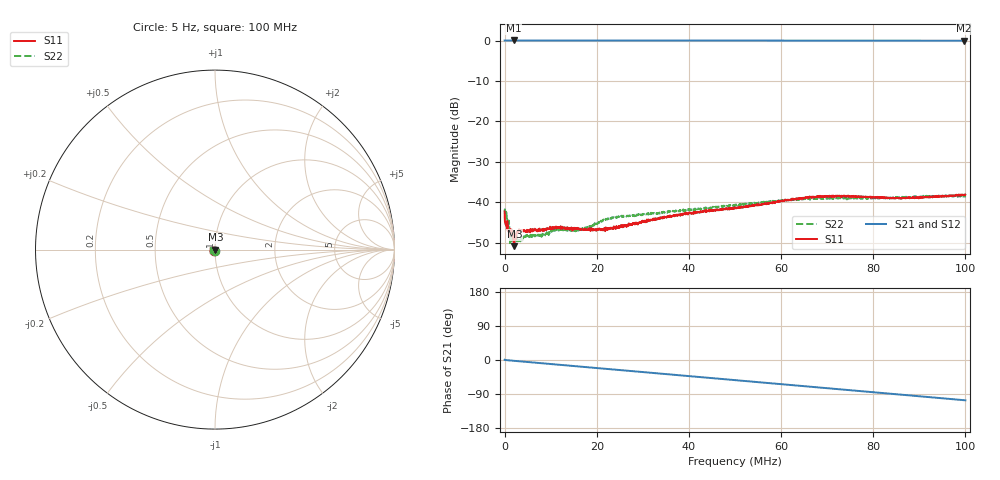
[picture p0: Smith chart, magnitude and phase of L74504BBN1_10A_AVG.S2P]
!Agilent Technologies,E5061B,MY49102235,A.02.00
!Date: Tue Jul 11 15:03:55 2023
!Data & Calibration Information:
!Freq	S11:SOLT2(ON)	S21:SOLT2(ON)	S12:SOLT2(ON)	S22:SOLT2(ON)
# Hz S RI R 50
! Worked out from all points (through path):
!   1600 points, 5 Hz to 100 MHz, reference 50 ohm
!   highest |S21| = 0.02 dB at 1.939 MHz (marker M1); lowest = 0.0 dB at 99.75 MHz (marker M2)
!   group delay of S21, straight-line fit = 2.95 ns
!   lowest |S11| = -50.8 dB at 2.126 MHz (marker M3), VSWR 1.01, Z = 50.3 - j0.0824 ohm
!   |S11| at or under -10 dB: start of sweep to end of sweep
!   |S22| runs from -50.5 to -38.2 dB; largest |S21 - S12| = 0.0026
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5  -0.00522 -0.00565  1.001 0.00801  1 0.0102  -0.00147 -0.00753
625395.8  0.00508 -1.53e-05  1.002 -0.011  1.002 -0.0106  0.0061 -0.000413
1000630  0.00381 0.000239  1.001 -0.0173  1.001 -0.017  0.00518 -0.000682
1500943  0.00441 -0.001  1.001 -0.0264  1.002 -0.0263  0.00306 -0.00215
1688560  0.00392 -0.001  1 -0.0309  1.001 -0.0311  0.00365 -0.00186
1938717  0.0032 -0.000372  1.002 -0.0355  1.001 -0.035  0.00349 -0.000102
2126334  0.00275 -0.000819  1.001 -0.0393  1 -0.0389  0.00389 -0.000249
2439029  0.00387 -0.00056  0.9998 -0.0454  0.9994 -0.045  0.00372 -9.01e-05
2939342  0.00435 -0.000635  0.9996 -0.0542  0.9992 -0.0543  0.00329 -0.000251
3502194  0.0044 -0.000968  0.9987 -0.0646  0.9986 -0.0644  0.00344 -0.000361
4627897  0.00431 -0.0011  0.9974 -0.0853  0.9971 -0.085  0.00383 -0.000685
8255164  0.00343 -0.00306  0.9895 -0.1523  0.9893 -0.1522  0.00317 -0.00258
1.11945e7  0.00238 -0.00408  0.9797 -0.2059  0.9796 -0.2056  0.00135 -0.00445
1.669794e7  0.00104 -0.0045  0.9531 -0.3045  0.9531 -0.3043  0.000587 -0.00453
2.320201e7  0.000945 -0.00464  0.9097 -0.4169  0.9097 -0.4169  0.00279 -0.00578
3.333334e7  -0.000741 -0.00631  0.8155 -0.5793  0.8155 -0.5791  0.000201 -0.00731
5.003127e7  -0.00319 -0.00783  0.5997 -0.7999  0.5997 -0.7996  -0.00386 -0.00834
6.672921e7  -0.00837 -0.00827  0.3265 -0.9435  0.3267 -0.9435  -0.0077 -0.00788
7.235772e7  -0.00936 -0.00763  0.2262 -0.9718  0.2263 -0.9718  -0.00867 -0.00727
8.33646e7  -0.01 -0.00528  0.0242 -0.9966  0.024 -0.9966  -0.00943 -0.00622
9.974984e7  -0.0121 -0.00304  -0.2758 -0.9557  -0.2756 -0.9559  -0.011 -0.00433
1e8  -0.0121 -0.00306  -0.2802 -0.9546  -0.2802 -0.9546  -0.0112 -0.00416
